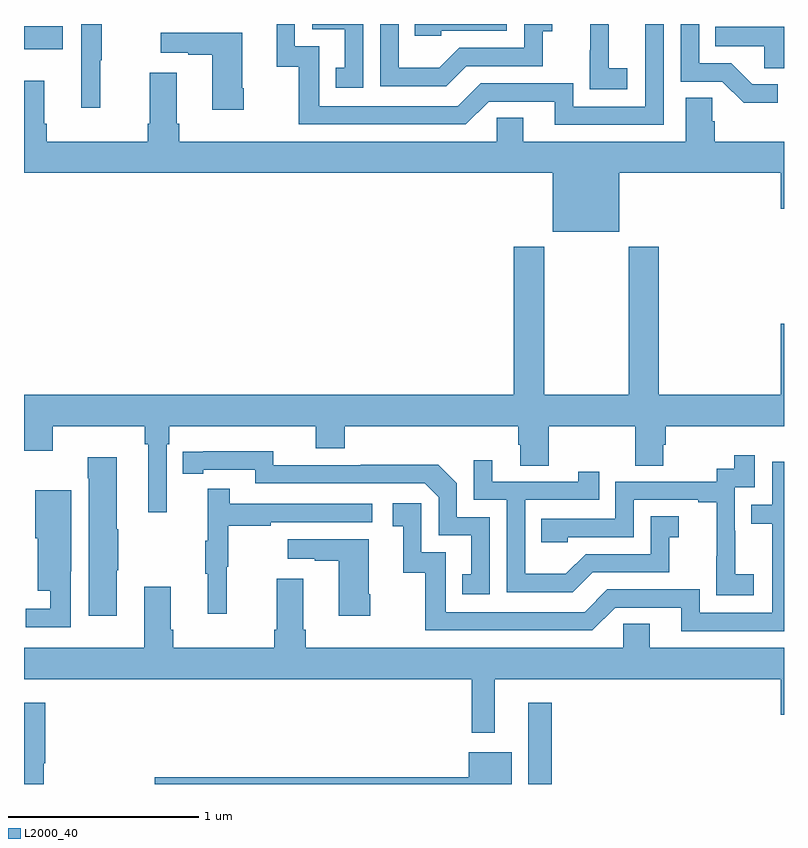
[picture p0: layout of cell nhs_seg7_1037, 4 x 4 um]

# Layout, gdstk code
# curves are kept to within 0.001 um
import gdstk
lib = gdstk.Library(unit=1e-6, precision=1e-09)
def R(c, l, rs):  # rectangles x0, y0, x1, y1
    for r in rs: c.add(gdstk.rectangle(r[:2], r[2:], *l))
def P(c, l, *ps):  # polygons
    for p in ps: c.add(gdstk.Polygon(p, *l))
L2000_40 = (2000, 40)

nhs_seg7_1037 = lib.new_cell('nhs_seg7_1037')
R(nhs_seg7_1037, L2000_40, [(187.655,1064,187.777,1064.428), (185,1067.867,185.203,1067.989)])
P(nhs_seg7_1037, L2000_40, [(188.968,1067.682),(188.833,1067.682),(188.722,1067.793),(188.553,1067.793),(188.553,1068),(188.457,1068),(188.457,1067.697),(188.676,1067.697),(188.789,1067.585),(188.968,1067.585)],
  [(188.367,1068),(188.271,1068),(188.271,1067.565),(187.89,1067.565),(187.89,1067.688),(187.404,1067.688),(187.284,1067.568),(186.555,1067.568),(186.555,1067.883),(186.426,1067.883),(186.426,1068),(186.329,1068),(186.329,1067.775),(186.447,1067.775),(186.447,1067.472),(187.326,1067.472),(187.446,1067.592),(187.793,1067.592),(187.793,1067.469),(188.367,1067.469)],
  [(187.327,1067.778),(187.731,1067.778),(187.731,1067.963),(187.78,1067.963),(187.78,1068),(187.632,1068),(187.632,1067.874),(187.29,1067.874),(187.186,1067.77),(186.972,1067.77),(186.972,1068),(186.876,1068),(186.876,1067.673),(187.222,1067.673)],
  [(185.402,1067.808),(185.41,1067.808),(185.41,1068),(185.301,1068),(185.301,1067.771),(185.3,1067.771),(185.3,1067.559),(185.402,1067.559)],
  [(186.786,1068),(186.516,1068),(186.516,1067.973),(186.689,1067.973),(186.689,1067.769),(186.64,1067.769),(186.64,1067.664),(186.786,1067.664)],
  [(187.197,1067.964),(187.542,1067.964),(187.542,1068),(187.057,1068),(187.057,1067.937),(187.197,1067.937)],
  [(188.176,1067.767),(188.078,1067.767),(188.078,1067.996),(188.076,1067.996),(188.076,1068),(187.979,1068),(187.979,1067.863),(187.978,1067.863),(187.978,1067.657),(188.176,1067.657)],
  [(189,1067.986),(188.638,1067.986),(188.638,1067.882),(188.895,1067.882),(188.895,1067.767),(189,1067.767)],
  [(186.156,1067.662),(186.148,1067.662),(186.148,1067.953),(185.721,1067.953),(185.721,1067.849),(185.864,1067.849),(185.864,1067.839),(185.99,1067.839),(185.99,1067.55),(186.156,1067.55)],
  [(188.134,1067.216),(188.984,1067.216),(188.984,1067.028),(189,1067.028),(189,1067.38),(188.636,1067.38),(188.636,1067.489),(188.622,1067.489),(188.622,1067.612),(188.483,1067.612),(188.483,1067.38),(187.627,1067.38),(187.627,1067.507),(187.488,1067.507),(187.488,1067.38),(185.816,1067.38),(185.816,1067.476),(185.803,1067.476),(185.803,1067.743),(185.663,1067.743),(185.663,1067.476),(185.651,1067.476),(185.651,1067.38),(185.12,1067.38),(185.12,1067.476),(185.107,1067.476),(185.107,1067.701),(185,1067.701),(185,1067.216),(187.784,1067.216),(187.784,1066.907),(188.134,1066.907)],
  [(185.751,1065.788),(185.765,1065.788),(185.765,1065.884),(186.536,1065.884),(186.536,1065.767),(186.689,1065.767),(186.689,1065.884),(187.601,1065.884),(187.601,1065.786),(187.613,1065.786),(187.613,1065.676),(187.761,1065.676),(187.761,1065.884),(188.218,1065.884),(188.218,1065.676),(188.365,1065.676),(188.365,1065.786),(188.378,1065.786),(188.378,1065.884),(189,1065.884),(189,1066.423),(188.984,1066.423),(188.984,1066.048),(188.342,1066.048),(188.342,1066.828),(188.182,1066.828),(188.182,1066.048),(187.737,1066.048),(187.737,1066.828),(187.577,1066.828),(187.577,1066.048),(185,1066.048),(185,1065.753),(185.15,1065.753),(185.15,1065.884),(185.635,1065.884),(185.635,1065.788),(185.654,1065.788),(185.654,1065.429),(185.751,1065.429)],
  [(187.452,1065.405),(187.278,1065.405),(187.278,1065.582),(187.18,1065.68),(186.772,1065.68),(186.772,1065.678),(186.312,1065.678),(186.312,1065.751),(185.836,1065.75),(185.836,1065.634),(185.944,1065.634),(185.944,1065.654),(186.216,1065.654),(186.216,1065.582),(187.11,1065.582),(187.182,1065.51),(187.182,1065.309),(187.355,1065.309),(187.355,1065.105),(187.306,1065.105),(187.306,1065),(187.452,1065)],
  [(188.842,1065.103),(188.744,1065.103),(188.744,1065.332),(188.742,1065.332),(188.742,1065.561),(188.847,1065.561),(188.847,1065.73),(188.739,1065.73),(188.739,1065.66),(188.646,1065.66),(188.646,1065.591),(188.112,1065.591),(188.112,1065.396),(187.723,1065.396),(187.723,1065.273),(187.863,1065.273),(187.863,1065.3),(188.208,1065.3),(188.208,1065.495),(188.549,1065.495),(188.549,1065.483),(188.645,1065.483),(188.645,1065.199),(188.644,1065.199),(188.644,1064.993),(188.842,1064.993)],
  [(185.488,1065.124),(185.496,1065.124),(185.496,1065.341),(185.488,1065.341),(185.488,1065.721),(185.335,1065.721),(185.335,1065.608),(185.342,1065.608),(185.342,1064.886),(185.488,1064.886)],
  [(187.993,1065.114),(188.397,1065.114),(188.397,1065.299),(188.446,1065.299),(188.446,1065.409),(188.298,1065.409),(188.298,1065.21),(187.956,1065.21),(187.852,1065.106),(187.638,1065.106),(187.638,1065.495),(188.027,1065.495),(188.027,1065.643),(187.916,1065.643),(187.916,1065.591),(187.465,1065.591),(187.465,1065.703),(187.368,1065.703),(187.368,1065.495),(187.542,1065.495),(187.542,1065.009),(187.888,1065.009)],
  [(189,1065.696),(188.937,1065.696),(188.937,1065.471),(188.827,1065.471),(188.827,1065.37),(188.937,1065.37),(188.937,1064.901),(188.556,1064.901),(188.556,1065.024),(188.07,1065.024),(187.95,1064.904),(187.221,1064.904),(187.221,1065.219),(187.092,1065.219),(187.092,1065.478),(186.942,1065.478),(186.942,1065.357),(186.995,1065.357),(186.995,1065.111),(187.113,1065.111),(187.113,1064.808),(187.992,1064.808),(188.112,1064.928),(188.459,1064.928),(188.459,1064.805),(189,1064.805)],
  [(186.068,1065.144),(186.076,1065.144),(186.076,1065.358),(186.299,1065.358),(186.299,1065.378),(186.832,1065.378),(186.832,1065.474),(186.083,1065.474),(186.083,1065.553),(185.966,1065.553),(185.966,1065.281),(185.955,1065.281),(185.955,1065.107),(185.966,1065.107),(185.966,1064.895),(186.068,1064.895)],
  [(185.247,1065.121),(185.248,1065.121),(185.248,1065.547),(185.06,1065.547),(185.06,1065.294),(185.072,1065.294),(185.072,1065.017),(185.139,1065.017),(185.139,1064.922),(185.01,1064.922),(185.01,1064.826),(185.247,1064.826)],
  [(186.822,1064.998),(186.814,1064.998),(186.814,1065.289),(186.387,1065.289),(186.387,1065.185),(186.53,1065.185),(186.53,1065.175),(186.656,1065.175),(186.656,1064.886),(186.822,1064.886)],
  [(187.477,1064.552),(188.984,1064.552),(188.984,1064.364),(189,1064.364),(189,1064.716),(188.293,1064.716),(188.293,1064.843),(188.154,1064.843),(188.154,1064.716),(186.482,1064.716),(186.482,1064.812),(186.469,1064.812),(186.469,1065.079),(186.329,1065.079),(186.329,1064.812),(186.317,1064.812),(186.317,1064.716),(185.786,1064.716),(185.786,1064.812),(185.773,1064.812),(185.773,1065.037),(185.633,1065.037),(185.633,1064.716),(185,1064.716),(185,1064.552),(187.356,1064.552),(187.356,1064.271),(187.477,1064.271)],
  [(185.105,1064.109),(185.113,1064.109),(185.113,1064.428),(185,1064.428),(185,1064),(185.105,1064)],
  [(187.567,1064.167),(187.34,1064.167),(187.34,1064.036),(185.687,1064.036),(185.687,1064),(187.567,1064)])

lib.write_gds('nhs_seg7_1037.gds')
